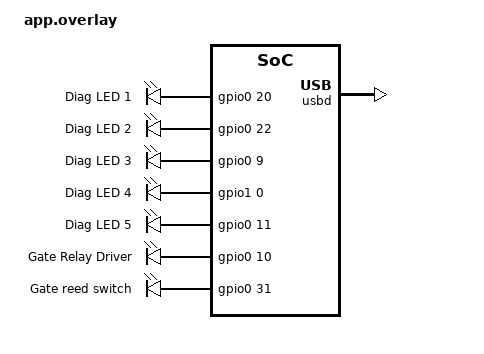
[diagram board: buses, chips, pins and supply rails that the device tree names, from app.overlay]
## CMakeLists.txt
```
# CMake entry point
cmake_minimum_required(VERSION 3.20.0)
find_package(Zephyr REQUIRED HINTS $ENV{ZEPHYR_BASE})
project(smart_lock_gate)
target_sources(app PRIVATE
src/main.c
src/ble/scan.c
src/ble/proximity.c
)
target_include_directories(app PRIVATE
    src
)
```

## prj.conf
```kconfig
# Zephyr 4.4 (SDK v1.0.1)
# prj.conf: 5 diagnostic LEDs + USB CDC ACM, LOG, BLE, Thread monitoring
#
# What's included:
#   - GPIO and PRINTK enabled
#   - USB CDC ACM enabled
#   - Serial/UART enabled
#   - LOG enabled in DEFERRED mode
#   - BLE stack enabled
#   - Thread introspection (for stack monitor - development purposes)


# === Kernel ===
CONFIG_MULTITHREADING=y
# Stack size of the system workqueue thread
CONFIG_SYSTEM_WORKQUEUE_STACK_SIZE=2048
CONFIG_HEAP_MEM_POOL_SIZE=4096
# Stack size of the main thread
CONFIG_MAIN_STACK_SIZE=2048
# 1 kHz tick for fine k_sleep granularity (default was 100Hz)
CONFIG_SYS_CLOCK_TICKS_PER_SEC=1000


# === Logging ===
CONFIG_LOG=y
# Fixes the LOG - CDC ACM deadlock at initialization
CONFIG_LOG_MODE_DEFERRED=y

# Level policy (Phase 3 L3-E: "quiet world, loud pins" -- allowlist).
# Two knobs, one scalpel:
#   - CONFIG_LOG_DEFAULT_LEVEL: the level for every module that did NOT
#     name its own level at LOG_MODULE_REGISTER() -- that includes the
#     whole Zephyr tree (BT host internals, drivers, USB, workqueue
#     plumbing). Keep it at 3 forever. If we set (DEFAULT=4)
#     we then raise EVERY unpinned module in the system to DBG:
#     peripheral flood + deferred-pool drops.
#   - CONFIG_LOG_MAX_LEVEL: the global compile-time CEILING. A module's
#     effective level is min(its pin, MAX). MAX defaults to DEFAULT_LEVEL,
#     so with DEFAULT=3 an explicit MAX=4 is REQUIRED to let the DBG
#     pins below actually reach DBG -- without it they are silently
#     clamped to INF (no error, no warning, just missing lines).
#   - Per-module pins at the registration site (the scalpel):
#       proximity.c -> LOG_LEVEL_DBG  (telemetry: kalman:/trend:/tick:)
#       scan.c      -> LOG_LEVEL_INF  (only DBG site = per-adv firehose)
#       main.c      -> LOG_LEVEL_INF
#     A pin ignores DEFAULT and can never exceed MAX.
# The Blocklist thinking (raise the world, quiet the noisy) is fragile: every
# new subsystem can leak. Our new Allowlist thinking: only named modules can be
# loud. Volume with these pins: ~4-5 lines/s at 1 Hz adv + 100% duty.
CONFIG_LOG_MAX_LEVEL=4
CONFIG_LOG_DEFAULT_LEVEL=3
# Absorb boot-time logs
CONFIG_LOG_BUFFER_SIZE=8192
# safeguard to make sure the USB enumerates first
CONFIG_LOG_PROCESS_THREAD_STARTUP_DELAY_MS=2000
# route logs to CDC ACM
CONFIG_LOG_BACKEND_UART=y
CONFIG_PRINTK=y 

# === USB (CDC ACM console) ===
# Enable the new USB stack (Zephyr 4.x)
CONFIG_USB_DEVICE_STACK_NEXT=y
CONFIG_USBD_CDC_ACM_CLASS=y
CONFIG_CDC_ACM_SERIAL_INITIALIZE_AT_BOOT=y
# Console routing (printk goes to CDC ACM)
CONFIG_SERIAL=y
CONFIG_CONSOLE=y
CONFIG_UART_CONSOLE=y
CONFIG_UART_LINE_CTRL=y
# USB logs at WRN level (we want to see USB problems, but not debug spam)
CONFIG_USBD_LOG_LEVEL_WRN=y

# === Hardware ===
CONFIG_GPIO=y
CONFIG_PINCTRL=y

# === FPU (Phase 3 L2: Kalman filter float math) ==========================
# nRF52840's Cortex-M4F has a single-precision FPU (FPv4-SP, s0-s31).
# CONFIG_FPU=y switches the whole build to the hard-float ABI: float math
# compiles to VADD/VMUL/VDIV FPU instructions instead of __aeabi_* software
# helper calls.
#
# Float discipline for this project (see Phase 3 L2 lesson):
#   - float only, NEVER double: the M4F FPU has no double hardware, so
#     every double operation becomes a slow libgcc software call
#   - every float constant carries the f suffix (2.0f, not 2.0): a bare
#     double constant promotes the whole runtime expression to double
#   - FP math runs ONLY on the system workqueue thread (kalman_update via
#     proximity_on_match + the proximity tick). Exactly one FP thread ->
#     CONFIG_FP_SHARING stays OFF (FPU registers are not saved across
#     context switches; a second FP thread would silently corrupt them).
#     Revisit if a second thread ever executes float code.
#   - no FP in ISRs: unsupported on ARMv7-M in Zephyr. Both our FP paths
#     run in workqueue (thread) context.
CONFIG_FPU=y

# Optional, debugging only: lets LOG/printk print %f directly. Pulls in
# substantial code; production code uses the fmt_float2() fixed-point
# formatter in proximity.c instead.
#CONFIG_CBPRINTF_FP_SUPPORT=y

# === BLE  ===
# We will enable all BLE roles now so we don't have to rebuild later:
#   - OBSERVER:   used for scanning (default state, listens to mobiles advertisments)
#   - CENTRAL:    used for auth (initiate connection to phone)
#   - PERIPHERAL: used for pairing mode (advertise, accept connection from phone)
#   - SMP:        security manager (used for pairing, encryption)
CONFIG_BT=y
CONFIG_BT_PERIPHERAL=y
CONFIG_BT_CENTRAL=y
CONFIG_BT_OBSERVER=y
# security manager (later)
CONFIG_BT_SMP=y
# for pairing service (later)
CONFIG_BT_GATT_DYNAMIC_DB=y
CONFIG_BT_MAX_CONN=2
CONFIG_BT_DEVICE_NAME="smart-lock-gate"
# verbose BLE logs during development (will be off in production)
#CONFIG_BT_LOG_LEVEL_DBG=y
CONFIG_BT_LOG_LEVEL_INF=y

# === Thread introspection ===
# CONFIG_THREAD_STACK_INFO: enables k_thread_stack_space_get() which returns
# the high-water mark of free stack for a given thread.
CONFIG_THREAD_STACK_INFO=y
# CONFIG_INIT_STACKS: Initializes the stack with a specific memory pattern (i.e.: 0xAA)
# We need this initialization pattern as the k_thread_stack_space_get() calculates
# the unused stack space by scanning for this untouched init memory pattern
CONFIG_INIT_STACKS=y
# CONFIG_THREAD_MONITOR: maintains a runtime list of all threads (used by
# shell "kernel threads" command). Small memory cost (~32 bytes/thread).
# We enable it for development - useful for debugging stack issues.
CONFIG_THREAD_MONITOR=y
# CONFIG_THREAD_NAME: lets us give threads human-readable names. The BT
# stack already uses this (BT RX, BT TX, etc.). Helps when reading the
# "kernel threads" output.
CONFIG_THREAD_NAME=y
```

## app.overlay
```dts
/* app.overlay — 5 diagnostic LEDs + USB CDC ACM console
 * Zephyr needs to know which virtual device to map the console to

 *
 * LEDs (all active-high):
 *   LED 1 (P0.20) - App started
 *   LED 2 (P0.22) - Survived SYS_INIT
 *   LED 3 (P0.09) - USB init complete
 *   LED 4 (P1.00) - DTR wait complete
 *   LED 5 (P0.11) - Main loop (blinks)
 *
 * Note: P0.24/P0.25 are USB D+/D- — never use for GPIO.
 */

/ {
    diag_leds {
        compatible = "gpio-leds";
        diag_led_1: diag_led_1 { gpios = <&gpio0 20 GPIO_ACTIVE_HIGH>; label = "Diag LED 1"; };
        diag_led_2: diag_led_2 { gpios = <&gpio0 22 GPIO_ACTIVE_HIGH>; label = "Diag LED 2"; };
        diag_led_3: diag_led_3 { gpios = <&gpio0 9 GPIO_ACTIVE_HIGH>; label = "Diag LED 3"; };
        diag_led_4: diag_led_4 { gpios = <&gpio1 0 GPIO_ACTIVE_HIGH>; label = "Diag LED 4"; };
        diag_led_5: diag_led_5 { gpios = <&gpio0 11 GPIO_ACTIVE_HIGH>; label = "Diag LED 5"; };
    };

    relays {
        compatible = "gpio-leds";
        gate_relay: gate_relay {
            gpios = <&gpio0 10 GPIO_ACTIVE_HIGH>;
            label = "Gate Relay Driver";
        };
    };

    reeds {
        compatible = "gpio-leds";
        gate_reed: gate_reed {
            gpios = <&gpio0 31 GPIO_PULL_UP>;
            label = "Gate reed switch";
        };
    };

    chosen {
        zephyr,console = &board_cdc_acm_uart;
        zephyr,shell-uart = &board_cdc_acm_uart;
    };
};

&usbd {
    status = "okay";
};
```

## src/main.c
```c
// src/main.c
//
// BLE:
//   bt_enable() with async callback pattern 
//   bt_ready_cb() that logs BLE readiness
//
// Phase 3 ch1 changes (search for "Phase 3 ch1" to find them):
//   1. Added #include "ble/proximity.h"
//   2. Added proximity_init() call in bt_ready_cb, right after scan_start()
//      This initializes the phone-tracking registry + schedules the 1s tick.
//
// Phase 3 ch4 changes (search for "Phase 3 ch4" to find them):
//   1. pulse_relay() -> pulse_relay_async(): the 500 ms OFF-step is now a
//      k_work_delayable. The old k_sleep(500) was fine from main-thread
//      context (the 'u' command) but is a BUG from the proximity callback,
//      which runs on the SYSTEM WORKQUEUE -- a sleeping handler there
//      stalls scan_work, proximity_tick and every other sysworkq user.
//   2. proximity_event_handler: UNLOCK -> relay pulse; RELOCK -> logged
//      hook point for the Phase 5 gate state machine.
//   3. proximity_register_event_cb() called before bt_enable() (ordering
//      IS the thread-safety story; see proximity.h).
//   4. 'u' command uses the async pulse too (same code path as the real
//      unlock -- one pulse implementation, not two).
//
// LED mappings:
//   LED 1 ON  = app started
//   LED 2 ON  = survived SYS_INIT (I am currently using this pin for relay triggering)
//   LED 4 ON  = DTR wait complete (i.e.: host is connected)
//   LED 5 BLINK = main loop running
//
// UART commands:
//   'u' + Enter = unlock gate (pulse the relay)
//   's' + Enter = show status

#include <zephyr/kernel.h>
#include <zephyr/drivers/gpio.h>
#include <zephyr/drivers/uart.h>
#include <zephyr/sys/printk.h>
#include <zephyr/version.h>
#include <zephyr/logging/log.h>
#include <zephyr/bluetooth/bluetooth.h>
#include <zephyr/bluetooth/hci.h>
#include <stdio.h>
#include "ble/scan.h"
#include "ble/proximity.h"           /* Phase 3 ch1: phone registry + state machine */

LOG_MODULE_REGISTER(main, LOG_LEVEL_INF); // LOG_INF("TEXT"); --> becomes "INF main: TEXT"

/* 5 diagnostic LEDs */
static const struct gpio_dt_spec led1 =
    GPIO_DT_SPEC_GET(DT_NODELABEL(diag_led_1), gpios);
static const struct gpio_dt_spec led2 =
    GPIO_DT_SPEC_GET(DT_NODELABEL(diag_led_2), gpios);
static const struct gpio_dt_spec led3 =
    GPIO_DT_SPEC_GET(DT_NODELABEL(diag_led_3), gpios);
static const struct gpio_dt_spec led4 =
    GPIO_DT_SPEC_GET(DT_NODELABEL(diag_led_4), gpios);
static const struct gpio_dt_spec led5 =
    GPIO_DT_SPEC_GET(DT_NODELABEL(diag_led_5), gpios);

/* Relay driver */
static const struct gpio_dt_spec relay =
    GPIO_DT_SPEC_GET(DT_NODELABEL(diag_led_2), gpios);

/* Reed switch (gate state) */
static const struct gpio_dt_spec reed =
    GPIO_DT_SPEC_GET(DT_NODELABEL(gate_reed), gpios);

static int config_led(const struct gpio_dt_spec *led)
{
    if (!device_is_ready(led->port)) {
        return -ENODEV;
    }
    return gpio_pin_configure_dt(led, GPIO_OUTPUT_INACTIVE);
}

/* ============================================================
 * Phase 3 ch4: non-blocking relay pulse
 * ============================================================ */

/*
 * Why the old pulse_relay() had to die: it called k_sleep(500) between
 * ON and OFF. From main-thread context (the 'u' command) that was
 * merely ugly. From the proximity callback it would be a BUG: the
 * callback runs on the system workqueue, and a sleeping handler there
 * stalls EVERYTHING that shares the queue -- scan_work_handler stops
 * draining (the 32-deep msgq backs up and starts dropping advs within
 * ~1-2 s at ambient traffic), proximity_tick is delayed (dwell credits
 * inflate by the stall), the stats dump slips. Zephyr rule: system
 * workqueue handlers must not block.
 *
 * Fix: split the pulse. ON is a direct GPIO write; the OFF 500 ms later
 * is a k_work_delayable scheduled onto the same (system) workqueue.
 * Re-pulse while active just reschedules the OFF work -- worst case the
 * relay stays ON slightly longer (two residents unlocking at once);
 * harmless for a strike pulse. (One residual, documented: the manual
 * 'u' command runs in MAIN-thread context and can race the OFF work --
 * worst case a manual pulse gets cut short. Dev-only command, ignored.)
 *
 * k_work_delayable vs k_timer: the OFF step toggles a GPIO, legal from
 * a timer callback (ISR) too, but a work item keeps the actuation in
 * THREAD context -- consistent with everything else this project does
 * from workqueues, and the exact pattern already used by
 * proximity_tick and the scan stats dump. No new API to learn.
 */
static void relay_off_handler(struct k_work *work);

K_WORK_DELAYABLE_DEFINE(relay_off_work, relay_off_handler);

static void relay_off_handler(struct k_work *work)
{
    ARG_UNUSED(work);
    gpio_pin_set_dt(&relay, 0);
    /* LOG_INF, not printk: printk is SYNCHRONOUS (it writes through the
     * console driver directly -- can block if the USB host stalls);
     * LOG is deferred to the log thread. From workqueue context only
     * the deferred form is safe. (The GATE / status printks below stay
     * printk: they run in main-thread context.)
     */
    LOG_INF("relay pulse complete (OFF)");
}

static void pulse_relay_async(void)
{
    gpio_pin_set_dt(&relay, 1);
    LOG_INF("UNLOCK: relay ON, off in 500ms");
    (void)k_work_reschedule(&relay_off_work, K_MSEC(500));
}

/*
 * Phase 3 L4: proximity events -> hardware.
 *
 * Runs in SYSTEM WORKQUEUE context (the proximity tick): no blocking,
 * no printk. The audit lines (uuid, x, slope, dwell) are already logged
 * by proximity.c -- this handler is pure actuation.
 *
 * Phase 4: the authentication gate goes here (unlock events from
 * unauthenticated phones must not reach the relay). Phase 5: the gate
 * state machine consumes RELOCK.
 */
static void proximity_event_handler(enum proximity_event evt, uint8_t slot,
                                    const uint8_t *uuid)
{
    ARG_UNUSED(slot);
    ARG_UNUSED(uuid);

    switch (evt) {
    case PROX_EVENT_UNLOCK:
        pulse_relay_async();
        break;
    case PROX_EVENT_RELOCK:
        /* Informational today: the strike is spring-return, there is
         * nothing to actuate. Phase 5 hooks the gate state machine
         * here (relock + reed = gate secured).
         */
        break;
    }
}

/* ============================================================
 * BLE initialization
 * ============================================================ */

/* Called by the BLE stack when init completes (1-2 s after bt_enable()).
 * Runs in the (BT RX) thread context. We must keep it short, and do NOT block. */
static void bt_ready_cb(int err)
{
    if (err) {
        LOG_ERR("BLE init failed: %d", err);
        return;
    }

    LOG_INF("BLE ready");

    /* Log our own BLE MAC address so we can verify identity */
    bt_addr_le_t addr;
    size_t count = 1; /* Request 1 address */
    char addr_str[BT_ADDR_LE_STR_LEN];
    
    /* Fetch the local identity address */
    bt_id_get(&addr, &count);

    /* Verify we actually got an address back */
    if (count > 0) {
        bt_addr_le_to_str(&addr, addr_str, sizeof(addr_str));
        LOG_INF("Gate BLE address: %s", addr_str);
    }

    /* Kick off passive scan */
    LOG_INF("BLE ready, starting scan ...");
    scan_start();

    /* Phase 3 ch1: initialize the phone-tracking registry + schedule the
     * 1-second proximity tick. Must come AFTER scan_start() so that if a
     * phone happens to be advertising the moment BLE comes up, the scan is
     * already running and MATCHes will flow into proximity_on_match.
     *
     * proximity_init() zeros the phones[] array and schedules the first
     * proximity_tick for 1 second from now. Idempotent -- safe to call
     * multiple times.
     *
     * Threading note: this runs in BT RX context (bt_ready_cb is called by
     * the BT stack on the BT RX thread). proximity_init just calls memset +
     * k_work_reschedule, both of which are safe in BT RX context. The
     * actual proximity_tick runs in the system workqueue.
     */
    proximity_init();
}

int main(void)
{
    /* Configure all 5 LEDs */
    if (config_led(&led1) < 0 ||
        config_led(&led2) < 0 ||
        config_led(&led3) < 0 ||
        config_led(&led4) < 0 ||
        config_led(&led5) < 0) {
        while (1)
        {
            k_sleep(K_SECONDS(1));
        }
    }

    /* Configure relay as output, initially OFF */
    if (!device_is_ready(relay.port)) {
        while (1)
        {
            k_sleep(K_SECONDS(1));
        }
    }
    gpio_pin_configure_dt(&relay, GPIO_OUTPUT_INACTIVE);

    /* Configure reed switch as input */
    if (!device_is_ready(reed.port)) {
        while (1) 
        { 
            k_sleep(K_SECONDS(1));
        }
    }
    gpio_pin_configure_dt(&reed, GPIO_INPUT);

    /* === Stage 1: app started === */
    gpio_pin_set_dt(&led1, 1);
    k_busy_wait(300 * 1000);

    /* === Stage 2: survived SYS_INIT ===
     * SYS_INIT includes USB auto-init. If we get here, USB init
     * completed without crashing. */
    //gpio_pin_set_dt(&led2, 1);
    //k_busy_wait(300 * 1000);

    /* === Stage 3: USB init complete ===
     * At this point, the USB CDC ACM device should be enumerating.
     * Check lsusb and dmesg on the host. */
    //gpio_pin_set_dt(&led3, 1);

    /* === Stage 4: DTR wait ===
     * Wait for the host to open the serial port (gives USB time to enumerate before we start logging)
     * 10-second timeout, if host doesn't connect, proceed anyway. */
    const struct device *const console_dev =
        DEVICE_DT_GET(DT_CHOSEN(zephyr_console));
    if (device_is_ready(console_dev)) {
        uint32_t dtr = 0;
        for (int i = 0; i < 100 && !dtr; i++) {
            uart_line_ctrl_get(console_dev, UART_LINE_CTRL_DTR, &dtr);
            k_sleep(K_MSEC(100));
        }
        if (dtr) {
            k_sleep(K_MSEC(500));  /* let terminal settle */
        }
    }

    gpio_pin_set_dt(&led4, 1);

    /* Phase 3 ch4: register the actuation callback BEFORE BLE starts
     * (bt_enable -> bt_ready_cb -> scan + proximity). Ordering IS the
     * thread-safety story: the evaluator that fires events only runs
     * on the system workqueue, which is only fed after this point.
     */
    proximity_register_event_cb(proximity_event_handler);

    /* === Start BLE init (async; returns immediately) === */
    int err = bt_enable(bt_ready_cb);
    if (err) {
        LOG_ERR("bt_enable failed: %d", err);
        /* In production, we will return .. but in development phase we don't return to keep the smoke-test loop running so we can debug */
    } else {
        printk("BLE init started, waiting for ready callback...\r\n");
    }

    /* === Main loop .. This is identical to the previous commit === */
    printk("\r\n=== Smart Lock Gate ===\r\n");
    printk("Board: %s\r\n", CONFIG_BOARD);
    printk("Zephyr version: %s\r\n", KERNEL_VERSION_STRING);
    printk("Commands: 'u' + Enter = unlock gate (pulse the relay)\r\n");
    printk("          's' + Enter = show status\r\n");
    printk("\r\n");

    // Monitor the last state of the gate
    // If reed pin is LOW, then the gate is CLOSED.
    uint8_t last_reed_closed = (gpio_pin_get_dt(&reed) == 0);
    printk("Initial gate state: %s\r\n\r\n",
           last_reed_closed ? "CLOSED" : "OPEN");

    /* Serial command buffer */
    char rx_buf[16];
    int rx_idx = 0;

    while (1) {
        gpio_pin_toggle_dt(&led5);

        /* Check reed switch for state changes */
        uint8_t reed_closed = (gpio_pin_get_dt(&reed) == 0);
        if (reed_closed != last_reed_closed) 
        {
            printk(">>> GATE %s\r\n", reed_closed ? "CLOSED" : "OPEN");
            last_reed_closed = reed_closed;
        }

        /* Check for serial input (non-blocking poll) */
        if (device_is_ready(console_dev)) {
            // input character (i.e.: command) that is received by the console
            uint8_t ch;
            while (uart_poll_in(console_dev, &ch) >= 0) 
            {
                if (ch == '\r' || ch == '\n') 
                {
                    if (rx_idx > 0) 
                    {
                        rx_buf[rx_idx] = 0;
                        if (rx_buf[0] == 'u' || rx_buf[0] == 'U') {
                            // unlock the gate (Phase 3 ch4: async pulse,
                            // same code path as the proximity unlock)
                            pulse_relay_async();
                        } else if (rx_buf[0] == 's' || rx_buf[0] == 'S') {
                            printk("Status: gate=%s relay=%d\r\n",
                                   reed_closed ? "CLOSED" : "OPEN",
                                   gpio_pin_get_dt(&relay));
                        } else {
                            printk("Unknown command: '%s'\r\n", rx_buf);
                        }
                        rx_idx = 0;
                    }
                }
                else if (rx_idx < (int)sizeof(rx_buf) - 1) 
                {
                    rx_buf[rx_idx++] = ch;
                }
            }
        }

        k_sleep(K_MSEC(100));  /* 10Hz poll rate — LED 5 toggles every 100ms */
    }
    return 0;
}
```
